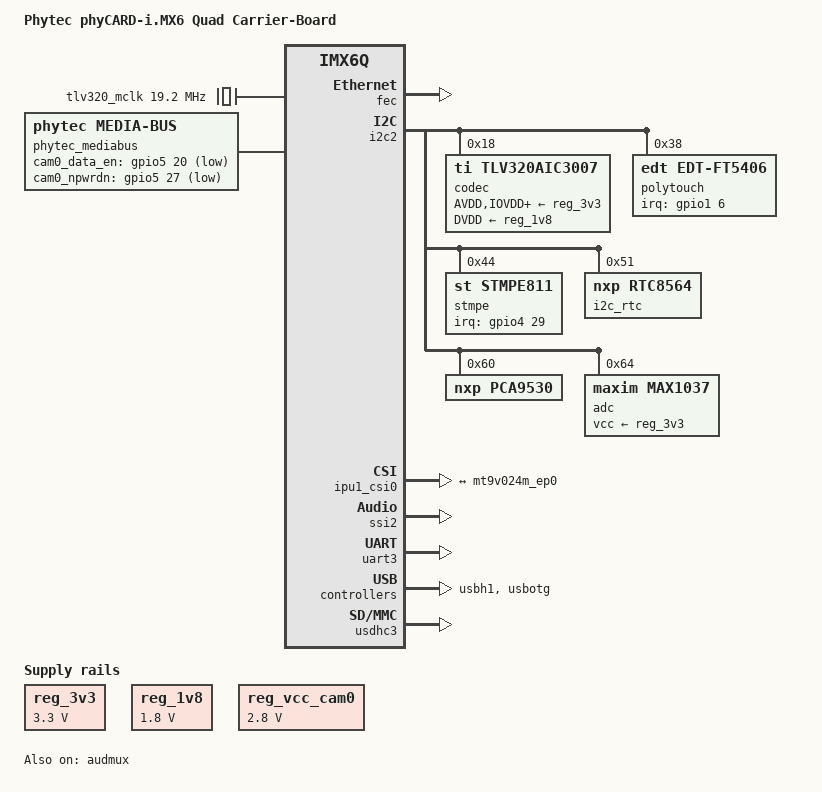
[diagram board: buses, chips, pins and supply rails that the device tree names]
/*
 * Copyright 2014 Christian Hemp, Phytec Messtechnik GmbH
 *
 * The code contained herein is licensed under the GNU General Public
 * License. You may obtain a copy of the GNU General Public License
 * Version 2 or later at the following locations:
 *
 * http://www.opensource.org/licenses/gpl-license.html
 * http://www.gnu.org/copyleft/gpl.html
 */

/dts-v1/;
#include <dt-bindings/sound/fsl-imx-audmux.h>
#include "imx6q-phytec-phycard-imx6-som.dtsi"
#include "imx6qdl-phytec-lcd.dtsi"

/ {
	model = "Phytec phyCARD-i.MX6 Quad Carrier-Board";
	compatible = "phytec,imx6q-pbaa03", "phytec,imx6q-pcaaxl3", "fsl,imx6q";

	aliases {
		rtc0 = &i2c_rtc;
	};

	chosen {
		linux,stdout-path = &uart3;
	};

	regulators {
		reg_3v3: regulator@2 {
                        compatible = "regulator-fixed";
                        reg = <2>;
                        regulator-name = "3V3";
                        regulator-min-microvolt = <3300000>;
                        regulator-max-microvolt = <3300000>;
                };

		reg_1v8: regulator@3 {
			compatible = "regulator-fixed";
			reg = <3>;
			regulator-name = "1V8";
			regulator-min-microvolt = <1800000>;
			regulator-max-microvolt = <1800000>;
		};

		reg_vcc_cam0: regulator@6 {
			compatible = "regulator-fixed";
			reg = <6>;
			regulator-name = "VCC_CAM0";
			regulator-min-microvolt = <2800000>;
			regulator-max-microvolt = <2800000>;
		};
	};

	tlv320_mclk: oscillator {
		compatible = "fixed-clock";
		#clock-cells = <0>;
		clock-frequency = <19200000>;
		clock-output-names = "tlv320-mclk";
	};

        phytec_mediabus: phytec_mediabus {
		compatible = "phytec,media-bus";
		pinctrl-names = "default";
		pinctrl-0 = <&pinctrl_cam0data
				&pinctrl_cam0clk
				&pinctrl_cam0switch>;

		#gpio-cells = <3>;
		#clock-cells = <1>;

		phytec,cam0_data_en-gpio = <&gpio5 20 GPIO_ACTIVE_LOW>;
		phytec,cam0_npwrdn-gpio  = <&gpio5 27 GPIO_ACTIVE_LOW>;

		phytec,cam0_serial;

		assigned-clocks =
		<&clks IMX6QDL_CLK_CKO1_SEL>,
		<&clks IMX6QDL_CLK_CKO>,
		<&clks IMX6QDL_CLK_PLL4_AUDIO_DIV>;

		assigned-clock-parents =
		<&clks IMX6QDL_CLK_PLL4_AUDIO_DIV>,
		<&clks IMX6QDL_CLK_CKO1>;

		assigned-clock-rates = <0>, <0>, <216000000>;

		clocks = <&clks IMX6QDL_CLK_CKO1>;
		clock-names = "camera0-clk";

		clock-output-names = "camera0-clk";

		camera@0 {

		};
	};


	sound {
		compatible = "simple-audio-card";
		simple-audio-card,name = "OnboardTLV320AIC3007";
		simple-audio-card,format = "i2s";
		simple-audio-card,bitclock-master = <&dailink_master>;
		simple-audio-card,frame-master = <&dailink_master>;
		simple-audio-card,widgets =
			"Microphone", "Mic Jack",
			"Line", "Line In",
			"Line", "Line Out";
		simple-audio-card,routing =
			"Line Out", "LLOUT",
			"Line Out", "RLOUT",
			"MIC3L", "Mic Jack",
			"MIC3R", "Mic Jack",
			"Mic Jack", "Mic Bias",
			"LINE1L", "Line In",
			"LINE1R", "Line In";

		simple-audio-card,cpu {
			sound-dai = <&ssi2>;
		};

		dailink_master: simple-audio-card,codec {
			sound-dai = <&codec>;
			clocks = <&tlv320_mclk>;
		};
	};
};

&audmux {
	status = "okay";

	ssi2 {
		fsl,audmux-port = <1>;
		fsl,port-config = <
			(IMX_AUDMUX_V2_PTCR_TFSDIR |
			IMX_AUDMUX_V2_PTCR_TFSEL(4) |
			IMX_AUDMUX_V2_PTCR_TCLKDIR |
			IMX_AUDMUX_V2_PTCR_TCSEL(4))
			IMX_AUDMUX_V2_PDCR_RXDSEL(4)
		>;
	};

	pins5 {
		fsl,audmux-port = <4>;
		fsl,port-config = <
			0x00000000
			IMX_AUDMUX_V2_PDCR_RXDSEL(1)
		>;
	};
};

/* The phyCARD-i.MX6 baseboard doesn't use a direct PWM signal from the i.MX6
 * to the LCD-018. Therefore we don't configure a backlight node here.
 */

&fec {
	status = "okay";
};

&i2c2 {
	status = "okay";

	codec: tlv320@18 {
		compatible = "ti,tlv320aic3007";
		#sound-dai-cells = <0>;
		reg = <0x18>;
		ai3x-micbias-vg = <2>;

		AVDD-supply = <&reg_3v3>;
		IOVDD-supply = <&reg_3v3>;
		DRVDD-supply = <&reg_3v3>;
		DVDD-supply = <&reg_1v8>;
	};

	polytouch: edt-ft5x06@38 {
		compatible = "edt,edt-ft5406", "edt,edt-ft5x06";
		reg = <0x38>;
		pinctrl-names = "default";
		pinctrl-0 = <&pinctrl_edt_ft5x06>;
		interrupt-parent = <&gpio1>;
		interrupts = <6 0>;
	};

	stmpe@44 {
		compatible = "st,stmpe811";
		reg = <0x44>;
		interrupt-parent = <&gpio4>;
		interrupts = <29 0>;
	};

	mt9p031_0: mt9p031@48 {
		compatible = "aptina,mt9p031";
		reg = <0x48>;
		status = "disabled";
		vdd-supply = <&reg_vcc_cam0>;
		vdd_io-supply = <&reg_vcc_cam0>;
		vaa-supply = <&reg_vcc_cam0>;

		clocks = <&phytec_mediabus 0>;

		port {
			mt9p031_ep0: endpoint {
				input-clock-frequency = <54000000>;
				pixel-clock-frequency = <54000000>;
				pclk-sample = <1>;
				remote-endpoint = <&csi0_ep>;
			};
		};
	};

	mt9v024m_0: mt9v024m@48 {
		compatible = "aptina,mt9v024m";
		reg = <0x48>;
		status = "disabled";

		clocks = <&phytec_mediabus 0>;

		port {
			mt9v024m_ep0: endpoint {
				link-frequencies = /bits/ 64
					<27000000>;
				pclk-sample = <1>;
				remote-endpoint = <&csi0_ep>;
			};
		};
        };

	mt9m111_0: mt9m111@48 {
		compatible = "micron,mt9m111";
		status = "disabled";
		reg = <0x48>;

		clocks = <&phytec_mediabus 0>;
		clock-names = "mclk";
		port {
			mt9m111_ep0: endpoint {
				bus-width = <8>;
				remote-endpoint = <&csi0_ep>;
			};
		};
	};

	mt9m001_0: mt9m001@5d {
		compatible = "aptina,mt9m001";
		status = "disabled";
		reg = <0x5d>;

		clocks = <&phytec_mediabus 0>;
		port {
			mt9m001_ep0: endpoint {
				bus-width = <8>;
				link-frequencies = /bits/ 64
					<36000000>;
				remote-endpoint = <&csi0_ep>;
			};
		};
	};

	tw9910_0: tw9910@45 {
		compatible = "techwell,tw9910";
		status = "disabled";
		reg = <0x45>;

		clocks = <&phytec_mediabus 0>;

		port {
			tw9910_ep0: endpoint {
				bus-width = <8>;
				mpout = <7>;
				link-frequencies = /bits/ 64 <27000000>;
				remote-endpoint = <&csi0_ep>;
			};
		};
	};

	i2c_rtc: rtc@51 {
		compatible = "nxp,rtc8564";
		reg = <0x51>;
	};

	pca9530: pca9530@60 {
		compatible = "nxp,pca9530";
		#address-cells = <1>;
		#size-cells = <0>;
		nxp,typecodes = <0x1>;
		nxp,statecodes = <0x1>;
		reg = <0x60>;
	};	

	adc@64 {
		compatible = "maxim,max1037";
		vcc-supply = <&reg_3v3>;
		reg = <0x64>;
	};
	
};

&ipu1_csi0 {
	#address-cells = <1>;
	#size-cells = <0>;

	/* Parallel bus */
	csi0_ep: endpoint {
		bus-width = <8>;
		remote-endpoint = <&mt9v024m_ep0>;
	};
};

&pca9530 {
	pca9530_lcd@0 {
		label = "phycard:lcd";
		reg = <0>;
		led-invert;
	};
};

&ssi2 {
	status = "okay";
};

&uart3 {
	status = "okay";
};

&usbh1 {
	status = "okay";
};

&usbotg {
	status = "okay";
};

&usdhc3 {
	status = "okay";
};
